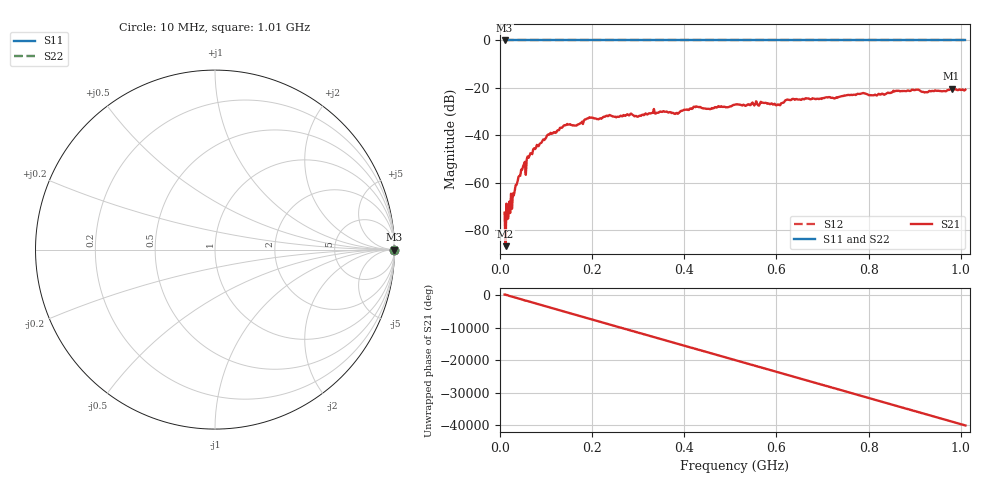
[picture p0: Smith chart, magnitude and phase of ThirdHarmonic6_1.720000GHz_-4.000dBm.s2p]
! 8/16/2025 8:41:58 PM
! C:\ANRITSUVNA\TEMP\TEMP.S2P
! CHANNEL.1
! TR.MEASUREMENT
! RAW.DATA
! RF.CORRECTION.OFF
! AVERAGING.OFF
! IF.BANDWIDTH: 5KHZ
! SWEEPTYPE:  FREQ.SWEEP(Linear)
! Reference Plane Port Info
! PORT:  PORT1  PORT2
! DISTANCE:  0  m  0  m
! TIME:  0  s  0  s
! PHASE.OFFSET:  0  deg.  0  deg.
! LOSS:  0  dB  0  dB
! REF.LOSS:  0  dB  0  dB
! REF.FREQ:  0  Hz  0  Hz
! Power Info
! POWER:  -20  dBm  -20  dBm
! EFF.POWER:  -20  dBm  -20  dBm
! SOURCE.ATTEN:  0  dB  0  dB
! TEST.ATTEN:  0  dB  0  dB
# GHZ S RI R 50.0
! FREQ.GHZ  S11RE  S11IM  S21RE  S21IM  S12RE  S12IM  S22RE  S22IM
!; PortSelection: Port_12
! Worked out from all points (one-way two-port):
!   501 points, 10 MHz to 1.01 GHz, reference 50 ohm
!   highest |S21| = -20.39 dB at 980 MHz (marker M1); lowest = -86.8 dB at 12 MHz (marker M2)
!   lowest |S11| = 0.0 dB at 10 MHz (marker M3)
!   |S11| at or under -10 dB: nowhere
!   |S22| runs from 0.0 to 0.0 dB; largest |S21 - S12| = 1.1
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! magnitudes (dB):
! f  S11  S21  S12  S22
! 10 MHz  0.0  -72.7  0.0  0.0
! 12 MHz  0.0  -86.8  0.0  0.0
! 14 MHz  0.0  -68.9  0.0  0.0
! 22 MHz  0.0  -72.8  0.0  0.0
! 38 MHz  0.0  -59.6  0.0  0.0
! 50 MHz  0.0  -53.2  0.0  0.0
! 76 MHz  0.0  -45.9  0.0  0.0
! 106 MHz  0.0  -39.8  0.0  0.0
! 142 MHz  0.0  -35.8  0.0  0.0
! 178 MHz  0.0  -34.3  0.0  0.0
! 196 MHz  0.0  -32.6  0.0  0.0
! 344 MHz  0.0  -30.5  0.0  0.0
! 382 MHz  0.0  -30.7  0.0  0.0
! 424 MHz  0.0  -28.1  0.0  0.0
! 454 MHz  0.0  -28.9  0.0  0.0
! 510 MHz  0.0  -27.1  0.0  0.0
! 604 MHz  0.0  -27.0  0.0  0.0
! 624 MHz  0.0  -24.9  0.0  0.0
! 678 MHz  0.0  -24.4  0.0  0.0
! 844 MHz  0.0  -22.2  0.0  0.0
! 980 MHz  0.0  -20.4  0.0  0.0
! 1.01 GHz  0.0  -20.8  0.0  0.0
